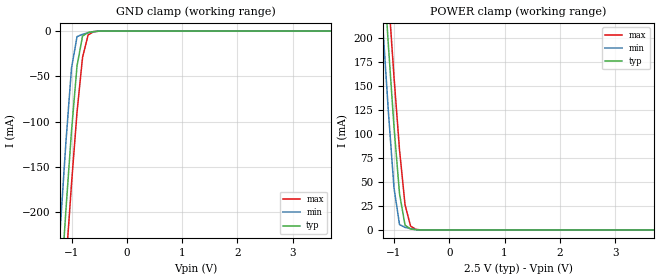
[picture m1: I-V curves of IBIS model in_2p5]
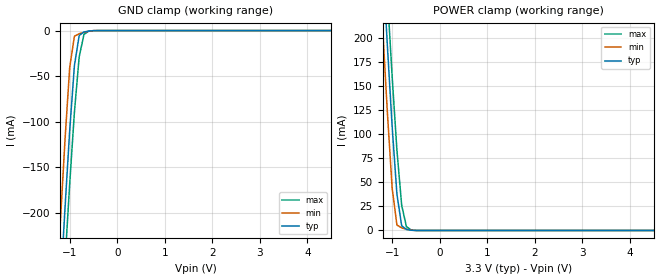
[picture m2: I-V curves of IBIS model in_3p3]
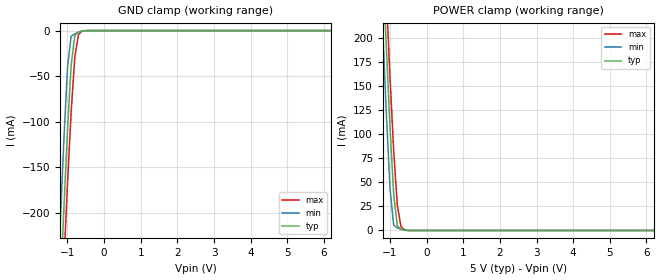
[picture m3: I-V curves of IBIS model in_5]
|Wuerth Elektronik eiSos GmbH & Co. KG
| High-Performance, Two Channel Digital Isolators.
| Marketing part#   Digital Voltage Range   Package-type   #pins
| 18012015421H   2.25V-5.5V   SOIC   8
| 18012015421L   2.25V-5.5V   SOIC   8
| 18012015411H   2.25V-5.5V   SOIC   8
| 18012015411L   2.25V-5.5V   SOIC   8
[IBIS Ver]   4.1
[File name]   180120154X1X.ibs
[File Rev]   1.0
[Date]   1/9/2024
[Source]
| Wuerth Elektronik eiSos GmbH & Co. KG
| Max-Eyth-Strasse 1, 74638 Waldenburg, Germany
[Notes]   Revision History:
| Rev 1.0: 1/10/2024
| - Initial version of the model
[Disclaimer]
| This model is designed as an aid for customers of WE.
[Copyright]
(C)
|   18012015421H,18012015421L
[Component]   18012015421X
[Manufacturer]   WE
[Package]   |8 SOIC - SOIC Wide body package
|   typ   min   max
R_pkg   0.29774   0.1605   0.43022
L_pkg   4.3564nH   3.8786nH   4.7833nH
C_pkg   0.6855pF   0.3744pF   1.4026pF
[Pin]  signal_name   model_name   R_pin   L_pin   C_pin
1   VCC1   POWER   0.17   4.2nH   0.58pF
2   INA   IN   0.42   4.77nH   0.40pF
3   INB   IN   0.43   4.78nH   0.42pF
4   GND1   GND   0.25   4.59nH   1.40pF
5   GND2   GND   0.23   4.22nH   1.33pF
6   OUTB   OUT   0.35   4.18nH   0.39pF
7   OUTA   OUT   0.35   4.19nH   0.37pF
8   VCC2   POWER   0.16   3.87nH   0.55pF
|   18012015411H,18012015411L
[Component]   18012015411X
[Manufacturer]   WE
[Package]   |8 SOIC - SOIC narrow body package
|   typ   min   max
R_pkg   0.102   0.056   0.131
L_pkg   1.26nH   0.663nH   1.48nH
C_pkg   0.311pF   0.129pF   2.19pF
[Pin]  signal_name   model_name   R_pin   L_pin   C_pin
1   VCC1   POWER   0.03   1.83nH  0.42pF
2   INA   IN   0.07   1.93nH  0.37pF
3   INB   IN   0.08   1.99nH  0.37pF
4   GND1   GND   0.06   2.20nH  0.40pF
5   GND2   GND   0.06   2.22nH  0.40pF
6   OUTB   OUT   0.08   1.99nH  0.37pF
7   OUTA   OUT   0.07   1.93nH  0.37pF
8   VCC2   POWER   0.03   1.83nH  0.42pF
|   Model Selectors
[Model Selector] IN
in_2p5   2.5V digital Input
in_3p3   3.3V digital Input
in_5   5.0V digital Input
[Model Selector] OUT
out_2p5   2.5V digital 3-state
out_3p3   3.3V digital 3-state
out_5   5.0V digital 3-state
| Models and submodels in the file (6): in_2p5 (Input), in_3p3 (Input), in_5 (Input), out_2p5 (3-state), out_3p3 (3-state), out_5 (3-state)
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|   in_2p5 Model
[Model]   in_2p5
Model_type   Input
Vinl = 0.75
Vinh = 1.75
|   typ   min   max
|   (nom PVT)   (fast PVT)   (slow PVT)
C_comp   3.281e-15   3.281e-15   3.250e-14
[Model spec]
|subparameter
Vinl   0.75   0.675   0.825
Vinh   1.75   1.575   1.925
| Where nom  PVT is Nominal Process, 2.5V, 27C
|   Fast PVT is Strong Process,  2.75V, -55C
|   Slow PVT is Weak Process,   2.25V, 150C
[Voltage Range]   2.5   2.25   2.75
|Ambient Temperature   25   125   -55
|Junction Temperature
[Temperature Range]   27   150   -55
[Power Clamp Reference]   2.5   2.25   2.75
[GND Clamp Reference]   0   0   0
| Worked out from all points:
|   GND clamp passes 1 mA (typ) near -0.65 V on its own axis
|   POWER clamp passes 1 mA (typ) near -0.70 V on its own axis
[GND Clamp]
-2.5V     -1.592A    -1.541A    -1.627A
-1.3V     -384.9mA   -311.3mA   -441.9mA
-1.2V     -289.3mA   -214.6mA   -347.9mA
-1.1V     -196.8mA   -121.8mA   -256.3mA
-1V       -110.3mA   -40.91mA   -168.9mA
-900mV    -38.4mA    -6.152mA   -89.52mA
-800mV    -5.474mA   -3.481mA   -29.01mA
-700mV    -1.531mA   -1.907mA   -4.308mA
-600mV    -532.3uA   -643.3uA   -627.8uA
5V        0A         0A         0A
[POWER Clamp]
-2.5V     1.53A      1.473A     1.57A
-1.2V     280.2mA    210.3mA    332.3mA
-1.1V     191.2mA    122mA      243.9mA
-1V       107.6mA    43.85mA    159.6mA
-900mV    37.75mA    5.657mA    83.35mA
-800mV    4.914mA    2.69mA     26.25mA
-700mV    1.001mA    1.317mA    3.987mA
-600mV    240.4uA    331.4uA    538.7uA
-500mV    21.06uA    14.62uA    50.53uA
5V        0A         0A         0A
[Model]   in_3p3
Model_type   Input
Vinl = 0.99
Vinh = 2.31
|   typ   min   max
|   (nom PVT)   (fast PVT)   (slow PVT)
C_comp   3.281e-15   3.281e-15   3.329e-14
[Model spec]
|subparameter
Vinl   0.99   0.891   1.089
Vinh   2.31   2.079   2.541
| Where nom  PVT is Nominal Process, 3.3V, 27C
|   Fast PVT is Strong Process,  3.63V, -55C
|   Slow PVT is Weak Process,   2.97V, 150C
[Voltage Range]   3.3   2.97   3.63
|Ambient Temperature   25   125   -55
|Junction Temperature
[Temperature Range]   27   150   -55
[Power Clamp Reference]   3.3   2.97   3.63
[GND Clamp Reference]   0   0   0
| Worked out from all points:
|   GND clamp passes 1 mA (typ) near -0.65 V on its own axis
|   POWER clamp passes 1 mA (typ) near -0.70 V on its own axis
[GND Clamp]
-3.3V     -2.412A    -2.377A    -2.435A
-1.3V     -384.9mA   -311.3mA   -441.9mA
-1.2V     -289.3mA   -214.6mA   -347.9mA
-1.1V     -196.8mA   -121.8mA   -256.3mA
-1V       -110.3mA   -40.91mA   -168.9mA
-900mV    -38.4mA    -6.152mA   -89.52mA
-800mV    -5.474mA   -3.481mA   -29.01mA
-700mV    -1.531mA   -1.907mA   -4.308mA
-600mV    -532.3uA   -643.3uA   -627.8uA
-500mV    -84.52uA   -60.81uA   -88.69uA
6.6V      0A         0A         0A
[POWER Clamp]
-3.3V     2.317A     2.267A     2.351A
-1.2V     280.2mA    210.3mA    332.3mA
-1.1V     191.2mA    122mA      243.9mA
-1V       107.6mA    43.85mA    159.6mA
-900mV    37.75mA    5.657mA    83.35mA
-800mV    4.914mA    2.69mA     26.25mA
-700mV    1.001mA    1.317mA    3.987mA
-600mV    240.4uA    331.4uA    538.7uA
-500mV    21.06uA    14.62uA    50.53uA
6.6V      0A         0A         0A
[Model]   in_5
Model_type   Input
Vinl = 1.5
Vinh = 3.5
|   typ   min   max
|   (nom PVT)   (fast PVT)   (slow PVT)
C_comp   3.281e-15   3.281e-15   3.455e-14
[Model spec]
|subparameter
Vinl   1.5   1.35   1.65
Vinh   3.5   3.15   3.85
| Where nom  PVT is Nominal Process, 5V, 27C
|   Fast PVT is Strong Process,  5.5V, -55C
|   Slow PVT is Weak Process,   4.5V, 150C
[Voltage Range]   5   4.5   5.5
|Ambient Temperature   25   125   -55
|Junction Temperature
[Temperature Range]   27   150   -55
[Power Clamp Reference]   5   4.5   5.5
[GND Clamp Reference]   0   0   0
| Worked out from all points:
|   GND clamp passes 1 mA (typ) near -0.65 V on its own axis
|   POWER clamp passes 1 mA (typ) near -0.70 V on its own axis
[GND Clamp]
-5V       -4.169A    -4.163A    -4.167A
-1.3V     -384.9mA   -311.3mA   -441.9mA
-1.2V     -289.3mA   -214.6mA   -347.9mA
-1.1V     -196.8mA   -121.8mA   -256.3mA
-1V       -110.3mA   -40.91mA   -168.9mA
-900mV    -38.4mA    -6.152mA   -89.52mA
-800mV    -5.474mA   -3.481mA   -29.01mA
-700mV    -1.531mA   -1.907mA   -4.308mA
-600mV    -532.3uA   -643.3uA   -627.8uA
-400mV    -5.865uA   -2.085uA   -8.245uA
10V       0A         0A         0A
[POWER Clamp]
-5V       4.002A     3.964A     4.027A
-1.2V     280.2mA    210.3mA    332.3mA
-1.1V     191.2mA    122mA      243.9mA
-1V       107.6mA    43.85mA    159.6mA
-900mV    37.75mA    5.657mA    83.35mA
-800mV    4.914mA    2.69mA     26.25mA
-700mV    1.001mA    1.317mA    3.987mA
-600mV    240.4uA    331.4uA    538.7uA
-400mV    965.3nA    161.1nA    3.632uA
10V       0A         0A         0A
